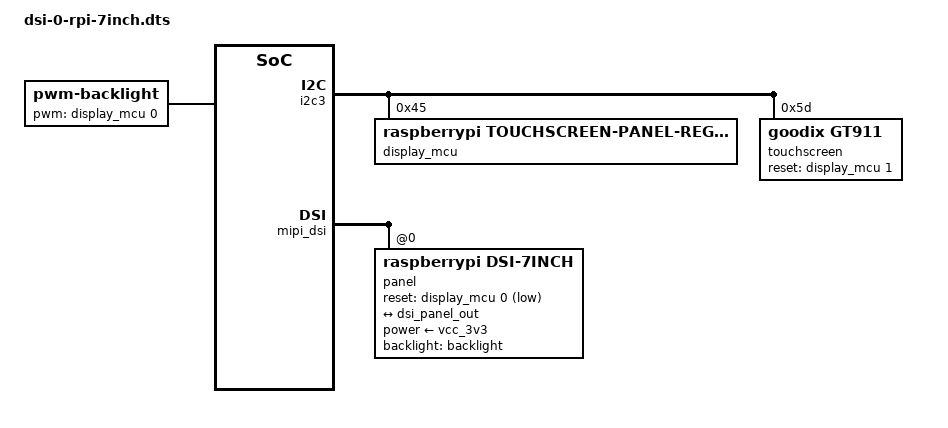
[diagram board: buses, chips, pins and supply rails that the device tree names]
// SPDX-License-Identifier: (GPL-2.0-or-later OR MIT)
/*
 * Copyright (C) 2026 Libre Computer, Inc.
 */
/*
 * Summary: Raspberry Pi Touch Display 2 on DSI connector 0
 *
 * Requires: dsi-0
 *
 * Resource-requires: bus:mipi_dsi
 * Resource-provides: i2c:i2c3@0x45, i2c:i2c3@0x5d, label:backlight
 *
 * Notes:
 *   The panel MCU at I2C 0x45 owns reset and the backlight PWM.
 *   Touch is a Goodix GT911 at I2C 0x5d. Its reset is the MCU's
 *   second GPIO (high releases it); the connector carries no touch
 *   interrupt, so the driver polls.
 *   Connector I2C is I2C_M3 (i2c3, GPIOA_14/15), pins 20 and 21.
 *   Power is the board VCC_3V3 on pins 22 and 23.
 *   Lane count is the raspberrypi,dsi-7inch driver descriptor (2).
 *   Pins 17 and 18 are not claimed.
 *   The Solitude base DTB already enables i2c3, so this fragment
 *   does not. Setting status here would make the overlay the I2C3
 *   bus provider and pull this panel in behind the camera overlay.
 */
/dts-v1/;
/plugin/;

#include <dt-bindings/clock/g12a-clkc.h>
#include <dt-bindings/gpio/gpio.h>

/ {
	compatible = "libre-computer,aml-s905d3-cc",
		"libretech,aml-s905d3-cc",
		"amlogic,s905d3",
		"amlogic,sm1";

	fragment@0 {
		target = <&i2c3>;

		__overlay__ {
			pinctrl-0 = <&i2c3_sda_a_pins>, <&i2c3_sck_a_pins>;
			pinctrl-names = "default";

			display_mcu: regulator@45 {
				compatible = "raspberrypi,touchscreen-panel-regulator-v2";
				reg = <0x45>;
				gpio-controller;
				#gpio-cells = <2>;
				#pwm-cells = <3>;
			};

			touchscreen@5d {
				compatible = "goodix,gt911";
				reg = <0x5d>;
				reset-gpios = <&display_mcu 1 GPIO_ACTIVE_HIGH>;
			};
		};
	};

	fragment@1 {
		target-path = "/";

		__overlay__ {
			backlight: backlight {
				compatible = "pwm-backlight";
				pwms = <&display_mcu 0 200000 0>;
				brightness-levels = <0 31>;
				num-interpolated-steps = <31>;
				default-brightness-level = <15>;
			};
		};
	};

	fragment@2 {
		target = <&mipi_dsi>;

		__overlay__ {
			#address-cells = <1>;
			#size-cells = <0>;

			/*
			 * GP0 at 1 GHz: the bit clock, and the encoder's 83.33 MHz
			 * pixel clock (the panel mode's) through VCLK2. The base
			 * gives GP0 no rate.
			 */
			assigned-clocks = <&clkc CLKID_GP0_PLL>,
					  <&clkc CLKID_MIPI_DSI_PXCLK_SEL>,
					  <&clkc CLKID_MIPI_DSI_PXCLK>,
					  <&clkc CLKID_CTS_ENCL_SEL>,
					  <&clkc CLKID_VCLK2_SEL>;
			assigned-clock-parents = <0>,
						 <&clkc CLKID_GP0_PLL>,
						 <0>,
						 <&clkc CLKID_VCLK2_DIV1>,
						 <&clkc CLKID_GP0_PLL>;
			assigned-clock-rates = <1000000000>,
					       <0>,
					       <1000000000>,
					       <0>,
					       <0>;

			panel@0 {
				compatible = "raspberrypi,dsi-7inch", "ilitek,ili9881c";
				reg = <0>;
				power-supply = <&vcc_3v3>;
				reset-gpios = <&display_mcu 0 GPIO_ACTIVE_LOW>;
				backlight = <&backlight>;

				port {
					panel_in: endpoint {
						remote-endpoint = <&dsi_panel_out>;
					};
				};
			};
		};
	};

	fragment@3 {
		target = <&mipi_dsi_panel_port>;

		__overlay__ {
			dsi_panel_out: endpoint {
				remote-endpoint = <&panel_in>;
			};
		};
	};
};
